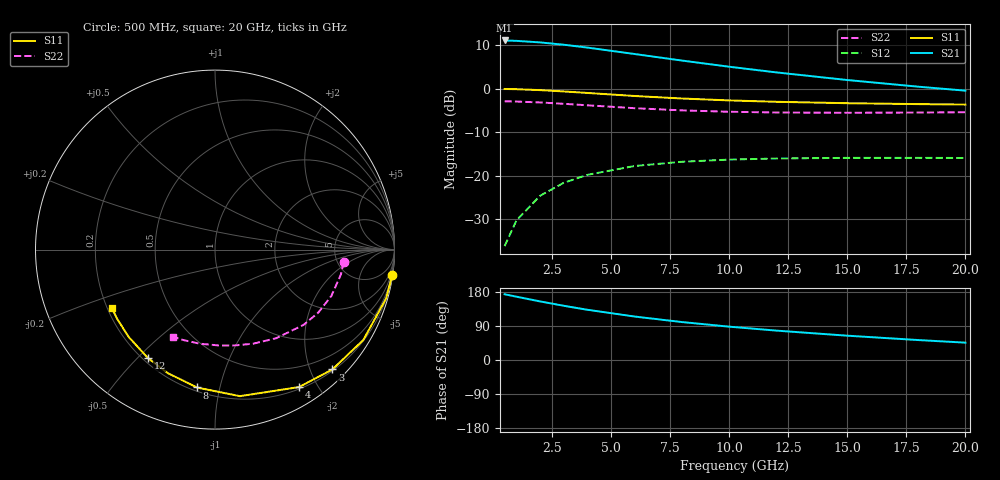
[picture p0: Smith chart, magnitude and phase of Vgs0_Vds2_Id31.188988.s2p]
# Hz S RI R 50
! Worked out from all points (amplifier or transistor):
!   12 points, 500 MHz to 20 GHz, reference 50 ohm
!   highest |S21| = 11.1 dB at 500 MHz (marker M1)
!   |S21| within 3 dB of that: start of sweep to 5.841 GHz
!   unconditionally stable (mu >= 1): 17.33 GHz to end of sweep
!   at 2 GHz: K = 0.11, MSG = 17.7 dB, |S12| = -24.6 dB
!   at 8 GHz: K = 0.44, MSG = 11.6 dB, |S12| = -16.8 dB
!   at 20 GHz: K = 1.18, MAG = 5.2 dB, |S12| = -15.9 dB
!   S11 on the Smith chart (normalised r, x): 500 MHz: 0, -14; 3 GHz: 0.22, -2.36; 4 GHz: 0.22, -1.76; 8 GHz: 0.22, -0.85; 12 GHz: 0.22, -0.54; 20 GHz: 0.22, -0.25
5e8  0.988 -0.1395  -3.584 0.4084  0.00149 0.0154  0.7164 -0.07
1e9  0.953 -0.2731  -3.478 0.7988  0.00582 0.0301  0.7018 -0.1377
2e9  0.8264 -0.5035  -3.096 1.467  0.0215 0.0548  0.6483 -0.2583
3e9  0.6536 -0.6679  -2.577 1.934  0.0427 0.0712  0.5742 -0.3525
4e9  0.4681 -0.7659  -2.022 2.199  0.0652 0.0791  0.4927 -0.42
6e9  0.1388 -0.8166  -1.053 2.288  0.1041 0.0771  0.3393 -0.4943
8e9  -0.1005 -0.7683  -0.373 2.085  0.1305 0.0632  0.2133 -0.524
1e10  -0.2633 -0.6881  0.0626 1.798  0.1465 0.0462  0.1114 -0.5339
1.2e10  -0.3743 -0.6035  0.3329 1.511  0.1553 0.0297  0.0254 -0.5344
1.5e10  -0.4812 -0.4864  0.5511 1.138  0.1606 0.00801  -0.0844 -0.5243
1.8e10  -0.546 -0.3846  0.643 0.8428  0.1606 -0.00959  -0.1784 -0.5037
2e10  -0.5749 -0.3243  0.6654 0.6836  0.1591 -0.0194  -0.2341 -0.4848
